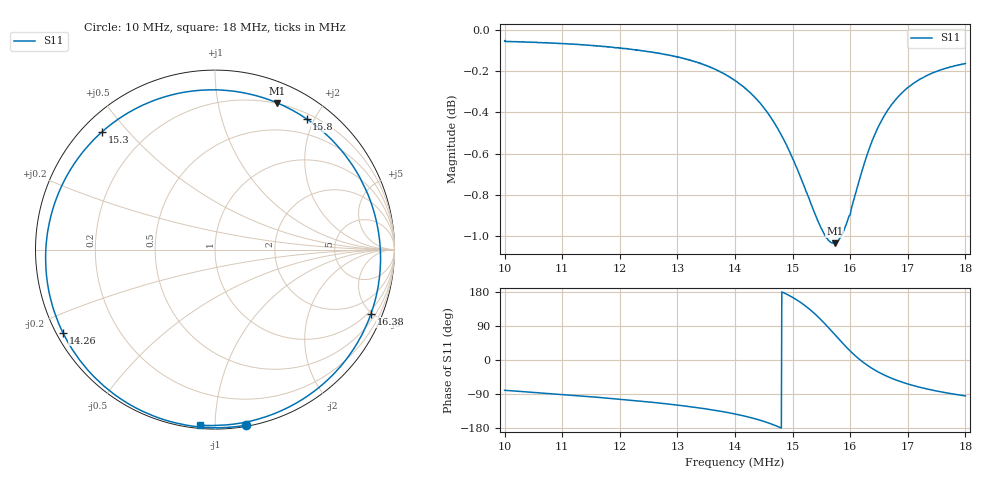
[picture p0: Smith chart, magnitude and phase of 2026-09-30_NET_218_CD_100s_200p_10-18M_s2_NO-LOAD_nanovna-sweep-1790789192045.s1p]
! NanoVNA Web complex sweep
! Processing: unaveraged complex samples; linear segment spacing; no smoothing
# Hz S RI R 50
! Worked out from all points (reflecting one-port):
!   1010 points, 10 MHz to 18 MHz, reference 50 ohm
!   lowest |S11| = -1.0 dB at 15.73 MHz (marker M1), VSWR 16.79, Z = 9.7 + j74.7 ohm
!   phase of S11 starts at -80 deg and turns -375 deg over the sweep
!   S11 on the Smith chart (normalised r, x): 10 MHz: 0.01, -1.19; 14.26 MHz: 0.02, -0.25; 15.3 MHz: 0.06, +0.43; 15.8 MHz: 0.27, +1.89; 16.38 MHz: 0.80, -4.92; 18 MHz: 0.02, -0.92
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1e7  0.1731 -0.9787
1.100698e7  -0.0195 -0.9923
1.200604e7  -0.232 -0.9623
1.300509e7  -0.4786 -0.8608
1.356012e7  -0.6365 -0.7447
1.400414e7  -0.7721 -0.5908
1.425787e7  -0.8481 -0.462
1.464639e7  -0.9357 -0.1704
1.484462e7  -0.9398 0.0397
1.50032e7  -0.8985 0.2417
1.515385e7  -0.7992 0.4553
1.529657e7  -0.6287 0.6568
1.542344e7  -0.4028 0.8048
1.553444e7  -0.1518 0.8799
1.563752e7  0.1079 0.8821
1.573267e7  0.3468 0.817
1.580403e7  0.5103 0.7281
1.59071e7  0.7048 0.5517
1.600225e7  0.8279 0.3581
1.608947e7  0.8953 0.1746
1.617669e7  0.9213 -0.00318
1.638284e7  0.8691 -0.3583
1.651764e7  0.7864 -0.5314
1.666036e7  0.6831 -0.6696
1.681894e7  0.565 -0.7798
1.700131e7  0.4351 -0.8651
1.742154e7  0.18 -0.9595
1.800036e7  -0.0811 -0.9782
